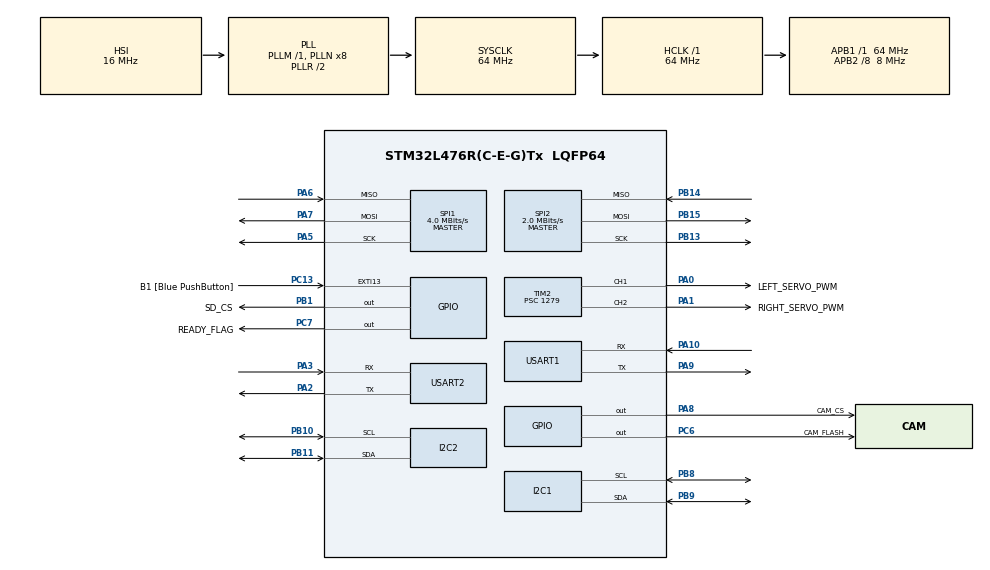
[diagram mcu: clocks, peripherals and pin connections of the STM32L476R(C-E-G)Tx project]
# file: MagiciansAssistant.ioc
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I2C1.Timing=0x10707DBC
I2C2.Timing=0x10707DBC
Mcu.Family=STM32L4
Mcu.Name=STM32L476R(C-E-G)Tx
Mcu.Package=LQFP64
NVIC.PriorityGroup=NVIC_PRIORITYGROUP_4
NVIC.RNG_IRQn=true\:0\:0\:false\:false\:true\:true\:true\:true
NVIC.TIM2_IRQn=true\:0\:0\:false\:false\:true\:true\:true\:true
PA0.GPIO_Label=LEFT_SERVO_PWM
PA0.Signal=S_TIM2_CH1
PA1.GPIO_Label=RIGHT_SERVO_PWM
PA1.Signal=S_TIM2_CH2
PA10.Mode=Asynchronous
PA10.Signal=USART1_RX
PA13\ (JTMS-SWDIO).GPIO_Label=TMS
PA13\ (JTMS-SWDIO).Mode=Serial_Wire
PA13\ (JTMS-SWDIO).Signal=SYS_JTMS-SWDIO
PA14\ (JTCK-SWCLK).GPIO_Label=TCK
PA14\ (JTCK-SWCLK).Mode=Serial_Wire
PA14\ (JTCK-SWCLK).Signal=SYS_JTCK-SWCLK
PA2.GPIO_Mode=GPIO_MODE_AF_PP
PA2.GPIO_ModeDefaultPP=GPIO_MODE_AF_PP
PA2.GPIO_PuPd=GPIO_NOPULL
PA2.GPIO_Speed=GPIO_SPEED_FREQ_VERY_HIGH
PA2.Mode=Asynchronous
PA2.Signal=USART2_TX
PA3.GPIO_Mode=GPIO_MODE_AF_PP
PA3.GPIO_ModeDefaultPP=GPIO_MODE_AF_PP
PA3.GPIO_PuPd=GPIO_NOPULL
PA3.GPIO_Speed=GPIO_SPEED_FREQ_VERY_HIGH
PA3.Mode=Asynchronous
PA3.Signal=USART2_RX
PA5.Mode=Full_Duplex_Master
PA5.Signal=SPI1_SCK
PA6.Mode=Full_Duplex_Master
PA6.Signal=SPI1_MISO
PA7.Mode=Full_Duplex_Master
PA7.Signal=SPI1_MOSI
PA8.GPIO_Label=CAM_CS
PA8.GPIO_PuPd=GPIO_NOPULL
PA8.GPIO_Speed=GPIO_SPEED_FREQ_LOW
PA8.PinState=GPIO_PIN_SET
PA8.Signal=GPIO_Output
PA9.Mode=Asynchronous
PA9.Signal=USART1_TX
PB1.GPIO_Label=SD_CS
PB1.PinState=GPIO_PIN_SET
PB1.Signal=GPIO_Output
PB10.Mode=I2C
PB10.Signal=I2C2_SCL
PB11.Mode=I2C
PB11.Signal=I2C2_SDA
PB13.Mode=Full_Duplex_Master
PB13.Signal=SPI2_SCK
PB14.Mode=Full_Duplex_Master
PB14.Signal=SPI2_MISO
PB15.Mode=Full_Duplex_Master
PB15.Signal=SPI2_MOSI
PB3\ (JTDO-TRACESWO).GPIO_Label=SWO
PB3\ (JTDO-TRACESWO).Signal=SYS_JTDO-SWO
PB8.Mode=I2C
PB8.Signal=I2C1_SCL
PB9.Mode=I2C
PB9.Signal=I2C1_SDA
PC13.GPIO_Label=B1 [Blue PushButton]
PC13.GPIO_ModeDefaultEXTI=GPIO_MODE_IT_FALLING
PC13.GPIO_PuPd=GPIO_NOPULL
PC13.Signal=GPXTI13
PC14-OSC32_IN\ (PC14).Mode=LSE-External-Oscillator
PC14-OSC32_IN\ (PC14).Signal=RCC_OSC32_IN
PC15-OSC32_OUT\ (PC15).Mode=LSE-External-Oscillator
PC15-OSC32_OUT\ (PC15).Signal=RCC_OSC32_OUT
PC6.GPIO_Label=CAM_FLASH
PC6.GPIO_PuPd=GPIO_PULLDOWN
PC6.PinState=GPIO_PIN_RESET
PC6.Signal=GPIO_Output
PC7.GPIO_Label=READY_FLAG
PC7.GPIO_PuPd=GPIO_PULLDOWN
PC7.Signal=GPIO_Output
PH0-OSC_IN\ (PH0).Signal=RCC_OSC_IN
PH1-OSC_OUT\ (PH1).Signal=RCC_OSC_OUT
ProjectManager.HeapSize=0x200
ProjectManager.StackSize=0x400
ProjectManager.TargetToolchain=STM32CubeIDE
RCC.ADCFreq_Value=64000000
RCC.AHBFreq_Value=64000000
RCC.APB1Freq_Value=64000000
RCC.APB1TimFreq_Value=64000000
RCC.APB2CLKDivider=RCC_HCLK_DIV8
RCC.APB2Freq_Value=8000000
RCC.APB2TimFreq_Value=16000000
RCC.CortexFreq_Value=64000000
RCC.HCLKFreq_Value=64000000
RCC.HSE_VALUE=8000000
RCC.HSI_VALUE=16000000
RCC.MSI_VALUE=4000000
RCC.PLLSAI1Q=RCC_PLLQ_DIV4
RCC.PLLSourceVirtual=RCC_PLLSOURCE_HSI
RCC.PREFETCH_ENABLE=1
RCC.SYSCLKFreq_VALUE=64000000
RCC.SYSCLKSource=RCC_SYSCLKSOURCE_PLLCLK
RCC.USBFreq_Value=32000000
RCC.VCOOutputFreq_Value=128000000
SH.S_TIM2_CH1.0=TIM2_CH1,PWM Generation1 CH1
SH.S_TIM2_CH2.0=TIM2_CH2,PWM Generation2 CH2
SPI1.BaudRatePrescaler=SPI_BAUDRATEPRESCALER_2
SPI1.CalculateBaudRate=4.0 MBits/s
SPI1.DataSize=SPI_DATASIZE_8BIT
SPI1.Direction=SPI_DIRECTION_2LINES
SPI1.Mode=SPI_MODE_MASTER
SPI1.VirtualType=VM_MASTER
SPI2.BaudRatePrescaler=SPI_BAUDRATEPRESCALER_32
SPI2.CalculateBaudRate=2.0 MBits/s
SPI2.DataSize=SPI_DATASIZE_8BIT
SPI2.Direction=SPI_DIRECTION_2LINES
SPI2.Mode=SPI_MODE_MASTER
SPI2.VirtualType=VM_MASTER
TIM2.AutoReloadPreload=TIM_AUTORELOAD_PRELOAD_ENABLE
TIM2.Channel-PWM\ Generation1\ CH1=TIM_CHANNEL_1
TIM2.Channel-PWM\ Generation2\ CH2=TIM_CHANNEL_2
TIM2.Period=999
TIM2.Prescaler=1279
TIM2.Pulse-PWM\ Generation1\ CH1=75
TIM2.Pulse-PWM\ Generation2\ CH2=5
USART1.VirtualMode-Asynchronous=VM_ASYNC
USART2.VirtualMode-Asynchronous=VM_ASYNC
VP_FATFS_VS_Generic.Mode=User_defined
VP_RNG_VS_RNG.Mode=RNG_Activate
VP_TIM2_VS_ClockSourceINT.Mode=Internal
board=NUCLEO-L476RG

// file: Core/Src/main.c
/* USER CODE BEGIN Header */
/**
  ******************************************************************************
  * @file           : main.c
  * @brief          : Main program body
  ******************************************************************************
  * @attention
  *
  * Copyright (c) 2023 STMicroelectronics.
  * All rights reserved.
  *
  * This software is licensed under terms that can be found in the LICENSE file
  * in the root directory of this software component.
  * If no LICENSE file comes with this software, it is provided AS-IS.
  *
  ******************************************************************************
  */
/* USER CODE END Header */
#include "main.h"
#include "fatfs.h"

/* USER CODE BEGIN Includes */
#include <string.h>
#include <stdlib.h>
#include "ArducamController.h"
#include "WiFiController.h"
#include "ServoController.h"
#include "SDController.h"

//#include "helpers.h"

/* USER CODE END Includes */

I2C_HandleTypeDef hi2c1;
I2C_HandleTypeDef hi2c2;

RNG_HandleTypeDef hrng;

SPI_HandleTypeDef hspi1;
SPI_HandleTypeDef hspi2;

TIM_HandleTypeDef htim2;

UART_HandleTypeDef huart1;
UART_HandleTypeDef huart2;

void SystemClock_Config(void);
static void MX_GPIO_Init(void);
static void MX_I2C1_Init(void);
static void MX_SPI1_Init(void);
static void MX_USART2_UART_Init(void);
static void MX_USART1_UART_Init(void);
static void MX_SPI2_Init(void);
static void MX_I2C2_Init(void);
static void MX_TIM2_Init(void);
static void MX_RNG_Init(void);

/* USER CODE BEGIN 0 */

void fullStatusReport(ArducamController* pArducam, WiFiController* pESP, ServoController* pServoController, SDController* pSDController){
	if(!pArducam){ printf("Null Arducam Pointer!\n");} else {printf("Arducam Status : %s\n", stat2Str(pArducam->status));}
	if(!pESP){ printf("Null WiFiController Pointer!\n"); } else {printf("ESP Status : %s\n", stat2Str(pESP->status));}
	if(!pServoController){ printf("Null ServoController Pointer!\n"); } else {printf("Servo Status : %s\n", stat2Str(pServoController->status));}
	if(!pSDController){ printf("Null SDController Pointer!\n"); } else {printf("SD Status : %s\n", stat2Str(pSDController->status));}
}

/* USER CODE END 0 */

int main(void)
{

  /* MCU Configuration--------------------------------------------------------*/

  /* Reset of all peripherals, Initializes the Flash interface and the Systick. */
  HAL_Init();

  /* Configure the system clock */
  SystemClock_Config();

  /* Initialize all configured peripherals */
  MX_GPIO_Init();
  MX_I2C1_Init();
  MX_SPI1_Init();
  MX_USART2_UART_Init();
  MX_USART1_UART_Init();
  MX_FATFS_Init();
  MX_SPI2_Init();
  MX_I2C2_Init();
  MX_TIM2_Init();
  MX_RNG_Init();
  /* USER CODE BEGIN 2 */

  //Initialize Helper Functions
  initHelpers(&huart2);

  //Initialize the peripheral controllers and their components
  Servo leftServo = {.name = "LEFT_SERVO\0", .pTIMHandle = &htim2, .channel = TIM_CHANNEL_1};
  Servo rightServo = {.name = "RIGHT_SERVO\0", .pTIMHandle = &htim2, .channel = TIM_CHANNEL_2};
  ServoController servoController = {.pRNGHandle = &hrng};
  initServoController(&servoController);
  addServo(&servoController, leftServo);
  addServo(&servoController, rightServo);

  ArducamController arducam = {.status = HAL_OK, .pI2CHandle = &hi2c1, .pSPIHandle = &hspi1, .pCSPort = CAM_CS_GPIO_Port, .csPinNo = CAM_CS_Pin, .pFlashPort = CAM_FLASH_GPIO_Port, .flashPinNo = CAM_FLASH_Pin};
  initArducam(&arducam);

  WiFiController esp = {.status = HAL_OK, .pUARTHandle = &huart1, .pGPIOPort = READY_FLAG_GPIO_Port, .readyFlagPin = READY_FLAG_Pin};
  char pCMDBuffer[] = "CMDBUFFR";
  initESP(&esp);

  SDController sd = {.status = HAL_OK, .pSPIHandle = &hspi2, .pCSPort = SD_CS_GPIO_Port, .csPin = SD_CS_Pin};
  char* filename = "image.jpg";
  initSD(&sd);

  /* USER CODE END 2 */

  /* Infinite loop */
  /* USER CODE BEGIN WHILE */
  clearCMDBuffer(&esp); //Clear out any old commands that may have come in while Assistant wasn't looking
  while (esp.status == HAL_OK) // Might add the other Controllers here if needed
  {// Continuously look for commands on ESP_RX, as long as ESP is working

	if(getNextCMD(&esp, pCMDBuffer) == HAL_OK){
		signalBusy(&esp);
		if(strcmp(pCMDBuffer, LIGHTS_ON) == 0){ //Turn the Flash On
			printf(STATUS_LIGHTS_ON);
			flashOn(&arducam);
		} else if (strcmp(pCMDBuffer, LIGHTS_OFF) == 0){ //Turn the Flash Off
			printf(STATUS_LIGHTS_OFF);
			flashOff(&arducam);
		} else if (strcmp(pCMDBuffer, SHUFFLE) == 0){ //Begin Shuffle Sequence
			printf(STATUS_SHUFFLE);
			if(shuffle(&servoController, DECK_SIZE) == HAL_OK){
				printf("SUCCESS Shuffled Deck.\n");
			}
		} else if (strcmp(pCMDBuffer, SNAP) == 0){ //Take a Single Picture and Sends it to the ESP
			printf(STATUS_SNAP);
			if(singleCapture(&arducam) == HAL_OK){
				if(writeFile(&sd, filename, arducam.pictureBuffer, arducam.pictureBufferSize) == HAL_OK){ //Saves JPG data to SD
					picToBase64(&arducam);
					if(sendData(&esp, arducam.base64Buffer, arducam.base64Size) == HAL_OK){
						printSuccess("Sent Base64 Photo to ESP");
					}
				}
			}
		} else if (strcmp(pCMDBuffer, ARCHIDEKT) == 0){
			// Send the Deck to Archidekt
			// Idea : Capture 100 photos, send each to ESP to go to curl for Image to Text API, then Receive Text, (display it?), send out to Archidekt
			// Might be best to split into a "SCAN" cmd that scans a single card and prints the card name (at least for testing) and an "Archidekt" CMD
			printf(STATUS_ARCHIDEKT);
		} else if (strcmp(pCMDBuffer, SD_READ) == 0){ // Sends 1KB of the active SD file to ESP repeatedly
			/*printf(STATUS_SD_READ);
			int transmissionSize = 1024;
			int nChunks = arducam.pictureBufferSize / transmissionSize;
			char* fileData;
			for(int i = 0; i < nChunks; i++){
				signalBusy(&esp32);
				readFile(&sd, filename, fileData, transmissionSize);
				sendData(&esp32, fileData, transmissionSize);
				signalReady(&esp32);

			}*/
		} else if (strcmp(pCMDBuffer, SHUTDOWN) == 0){
			//Stop waiting for commands and exit the loop
			printf(STATUS_SHUTDOWN);
			break;
		} else { //Some strange command
			printf("%s: '%s'\n", STATUS_UNKNOWN, pCMDBuffer);
		}
	}

	clearCMDBuffer(&esp); // Flush again just to be sure the buffer is clear for the next command
	signalReady(&esp);
  }

  	printf("Exited Loop.\n");
    /* USER CODE END WHILE */

    /* USER CODE BEGIN 3 */
  	fullStatusReport(&arducam, &esp, &servoController, &sd); // Prints the statuses of every peripheral

  	// Clean up step
  	disconnectSD(&sd);
  	disconnectArducam(&arducam);
  	disconnectServos(&servoController);
  	disconnectESP(&esp);

	printf("Goodbye!\n");
  /* USER CODE END 3 */
}

void SystemClock_Config(void)
{
  RCC_OscInitTypeDef RCC_OscInitStruct = {0};
  RCC_ClkInitTypeDef RCC_ClkInitStruct = {0};

  /** Configure the main internal regulator output voltage
  */
  if (HAL_PWREx_ControlVoltageScaling(PWR_REGULATOR_VOLTAGE_SCALE1) != HAL_OK)
  {
    Error_Handler();
  }

  /** Initializes the RCC Oscillators according to the specified parameters
  * in the RCC_OscInitTypeDef structure.
  */
  RCC_OscInitStruct.OscillatorType = RCC_OSCILLATORTYPE_HSI;
  RCC_OscInitStruct.HSIState = RCC_HSI_ON;
  RCC_OscInitStruct.HSICalibrationValue = RCC_HSICALIBRATION_DEFAULT;
  RCC_OscInitStruct.PLL.PLLState = RCC_PLL_ON;
  RCC_OscInitStruct.PLL.PLLSource = RCC_PLLSOURCE_HSI;
  RCC_OscInitStruct.PLL.PLLM = 1;
  RCC_OscInitStruct.PLL.PLLN = 8;
  RCC_OscInitStruct.PLL.PLLP = RCC_PLLP_DIV7;
  RCC_OscInitStruct.PLL.PLLQ = RCC_PLLQ_DIV2;
  RCC_OscInitStruct.PLL.PLLR = RCC_PLLR_DIV2;
  if (HAL_RCC_OscConfig(&RCC_OscInitStruct) != HAL_OK)
  {
    Error_Handler();
  }

  /** Initializes the CPU, AHB and APB buses clocks
  */
  RCC_ClkInitStruct.ClockType = RCC_CLOCKTYPE_HCLK|RCC_CLOCKTYPE_SYSCLK
                              |RCC_CLOCKTYPE_PCLK1|RCC_CLOCKTYPE_PCLK2;
  RCC_ClkInitStruct.SYSCLKSource = RCC_SYSCLKSOURCE_PLLCLK;
  RCC_ClkInitStruct.AHBCLKDivider = RCC_SYSCLK_DIV1;
  RCC_ClkInitStruct.APB1CLKDivider = RCC_HCLK_DIV1;
  RCC_ClkInitStruct.APB2CLKDivider = RCC_HCLK_DIV8;

  if (HAL_RCC_ClockConfig(&RCC_ClkInitStruct, FLASH_LATENCY_3) != HAL_OK)
  {
    Error_Handler();
  }
}

static void MX_I2C1_Init(void)
{

  hi2c1.Instance = I2C1;
  hi2c1.Init.Timing = 0x10707DBC;
  hi2c1.Init.OwnAddress1 = 0;
  hi2c1.Init.AddressingMode = I2C_ADDRESSINGMODE_7BIT;
  hi2c1.Init.DualAddressMode = I2C_DUALADDRESS_DISABLE;
  hi2c1.Init.OwnAddress2 = 0;
  hi2c1.Init.OwnAddress2Masks = I2C_OA2_NOMASK;
  hi2c1.Init.GeneralCallMode = I2C_GENERALCALL_DISABLE;
  hi2c1.Init.NoStretchMode = I2C_NOSTRETCH_DISABLE;
  if (HAL_I2C_Init(&hi2c1) != HAL_OK)
  {
    Error_Handler();
  }

  /** Configure Analogue filter
  */
  if (HAL_I2CEx_ConfigAnalogFilter(&hi2c1, I2C_ANALOGFILTER_ENABLE) != HAL_OK)
  {
    Error_Handler();
  }

  /** Configure Digital filter
  */
  if (HAL_I2CEx_ConfigDigitalFilter(&hi2c1, 0) != HAL_OK)
  {
    Error_Handler();
  }

}

static void MX_I2C2_Init(void)
{

  hi2c2.Instance = I2C2;
  hi2c2.Init.Timing = 0x10707DBC;
  hi2c2.Init.OwnAddress1 = 0;
  hi2c2.Init.AddressingMode = I2C_ADDRESSINGMODE_7BIT;
  hi2c2.Init.DualAddressMode = I2C_DUALADDRESS_DISABLE;
  hi2c2.Init.OwnAddress2 = 0;
  hi2c2.Init.OwnAddress2Masks = I2C_OA2_NOMASK;
  hi2c2.Init.GeneralCallMode = I2C_GENERALCALL_DISABLE;
  hi2c2.Init.NoStretchMode = I2C_NOSTRETCH_DISABLE;
  if (HAL_I2C_Init(&hi2c2) != HAL_OK)
  {
    Error_Handler();
  }

  /** Configure Analogue filter
  */
  if (HAL_I2CEx_ConfigAnalogFilter(&hi2c2, I2C_ANALOGFILTER_ENABLE) != HAL_OK)
  {
    Error_Handler();
  }

  /** Configure Digital filter
  */
  if (HAL_I2CEx_ConfigDigitalFilter(&hi2c2, 0) != HAL_OK)
  {
    Error_Handler();
  }

}

static void MX_RNG_Init(void)
{

  hrng.Instance = RNG;
  if (HAL_RNG_Init(&hrng) != HAL_OK)
  {
    Error_Handler();
  }

}

static void MX_SPI1_Init(void)
{

  /* SPI1 parameter configuration*/
  hspi1.Instance = SPI1;
  hspi1.Init.Mode = SPI_MODE_MASTER;
  hspi1.Init.Direction = SPI_DIRECTION_2LINES;
  hspi1.Init.DataSize = SPI_DATASIZE_8BIT;
  hspi1.Init.CLKPolarity = SPI_POLARITY_LOW;
  hspi1.Init.CLKPhase = SPI_PHASE_1EDGE;
  hspi1.Init.NSS = SPI_NSS_SOFT;
  hspi1.Init.BaudRatePrescaler = SPI_BAUDRATEPRESCALER_2;
  hspi1.Init.FirstBit = SPI_FIRSTBIT_MSB;
  hspi1.Init.TIMode = SPI_TIMODE_DISABLE;
  hspi1.Init.CRCCalculation = SPI_CRCCALCULATION_DISABLE;
  hspi1.Init.CRCPolynomial = 7;
  hspi1.Init.CRCLength = SPI_CRC_LENGTH_DATASIZE;
  hspi1.Init.NSSPMode = SPI_NSS_PULSE_ENABLE;
  if (HAL_SPI_Init(&hspi1) != HAL_OK)
  {
    Error_Handler();
  }

}

static void MX_SPI2_Init(void)
{

  /* SPI2 parameter configuration*/
  hspi2.Instance = SPI2;
  hspi2.Init.Mode = SPI_MODE_MASTER;
  hspi2.Init.Direction = SPI_DIRECTION_2LINES;
  hspi2.Init.DataSize = SPI_DATASIZE_8BIT;
  hspi2.Init.CLKPolarity = SPI_POLARITY_LOW;
  hspi2.Init.CLKPhase = SPI_PHASE_1EDGE;
  hspi2.Init.NSS = SPI_NSS_SOFT;
  hspi2.Init.BaudRatePrescaler = SPI_BAUDRATEPRESCALER_32;
  hspi2.Init.FirstBit = SPI_FIRSTBIT_MSB;
  hspi2.Init.TIMode = SPI_TIMODE_DISABLE;
  hspi2.Init.CRCCalculation = SPI_CRCCALCULATION_DISABLE;
  hspi2.Init.CRCPolynomial = 7;
  hspi2.Init.CRCLength = SPI_CRC_LENGTH_DATASIZE;
  hspi2.Init.NSSPMode = SPI_NSS_PULSE_ENABLE;
  if (HAL_SPI_Init(&hspi2) != HAL_OK)
  {
    Error_Handler();
  }

}

static void MX_TIM2_Init(void)
{

  TIM_ClockConfigTypeDef sClockSourceConfig = {0};
  TIM_MasterConfigTypeDef sMasterConfig = {0};
  TIM_OC_InitTypeDef sConfigOC = {0};

  htim2.Instance = TIM2;
  htim2.Init.Prescaler = 1279;
  htim2.Init.CounterMode = TIM_COUNTERMODE_UP;
  htim2.Init.Period = 999;
  htim2.Init.ClockDivision = TIM_CLOCKDIVISION_DIV1;
  htim2.Init.AutoReloadPreload = TIM_AUTORELOAD_PRELOAD_ENABLE;
  if (HAL_TIM_Base_Init(&htim2) != HAL_OK)
  {
    Error_Handler();
  }
  sClockSourceConfig.ClockSource = TIM_CLOCKSOURCE_INTERNAL;
  if (HAL_TIM_ConfigClockSource(&htim2, &sClockSourceConfig) != HAL_OK)
  {
    Error_Handler();
  }
  if (HAL_TIM_PWM_Init(&htim2) != HAL_OK)
  {
    Error_Handler();
  }
  sMasterConfig.MasterOutputTrigger = TIM_TRGO_RESET;
  sMasterConfig.MasterSlaveMode = TIM_MASTERSLAVEMODE_DISABLE;
  if (HAL_TIMEx_MasterConfigSynchronization(&htim2, &sMasterConfig) != HAL_OK)
  {
    Error_Handler();
  }
  sConfigOC.OCMode = TIM_OCMODE_PWM1;
  sConfigOC.Pulse = 75;
  sConfigOC.OCPolarity = TIM_OCPOLARITY_HIGH;
  sConfigOC.OCFastMode = TIM_OCFAST_DISABLE;
  if (HAL_TIM_PWM_ConfigChannel(&htim2, &sConfigOC, TIM_CHANNEL_1) != HAL_OK)
  {
    Error_Handler();
  }
  sConfigOC.Pulse = 5;
  if (HAL_TIM_PWM_ConfigChannel(&htim2, &sConfigOC, TIM_CHANNEL_2) != HAL_OK)
  {
    Error_Handler();
  }
  HAL_TIM_MspPostInit(&htim2);

}

static void MX_USART1_UART_Init(void)
{

  huart1.Instance = USART1;
  huart1.Init.BaudRate = 115200;
  huart1.Init.WordLength = UART_WORDLENGTH_8B;
  huart1.Init.StopBits = UART_STOPBITS_1;
  huart1.Init.Parity = UART_PARITY_NONE;
  huart1.Init.Mode = UART_MODE_TX_RX;
  huart1.Init.HwFlowCtl = UART_HWCONTROL_NONE;
  huart1.Init.OverSampling = UART_OVERSAMPLING_16;
  huart1.Init.OneBitSampling = UART_ONE_BIT_SAMPLE_DISABLE;
  huart1.AdvancedInit.AdvFeatureInit = UART_ADVFEATURE_NO_INIT;
  if (HAL_UART_Init(&huart1) != HAL_OK)
  {
    Error_Handler();
  }

}

static void MX_USART2_UART_Init(void)
{

  huart2.Instance = USART2;
  huart2.Init.BaudRate = 115200;
  huart2.Init.WordLength = UART_WORDLENGTH_8B;
  huart2.Init.StopBits = UART_STOPBITS_1;
  huart2.Init.Parity = UART_PARITY_NONE;
  huart2.Init.Mode = UART_MODE_TX_RX;
  huart2.Init.HwFlowCtl = UART_HWCONTROL_NONE;
  huart2.Init.OverSampling = UART_OVERSAMPLING_16;
  huart2.Init.OneBitSampling = UART_ONE_BIT_SAMPLE_DISABLE;
  huart2.AdvancedInit.AdvFeatureInit = UART_ADVFEATURE_NO_INIT;
  if (HAL_UART_Init(&huart2) != HAL_OK)
  {
    Error_Handler();
  }

}

static void MX_GPIO_Init(void)
{
  GPIO_InitTypeDef GPIO_InitStruct = {0};

  /* GPIO Ports Clock Enable */
  __HAL_RCC_GPIOC_CLK_ENABLE();
  __HAL_RCC_GPIOH_CLK_ENABLE();
  __HAL_RCC_GPIOA_CLK_ENABLE();
  __HAL_RCC_GPIOB_CLK_ENABLE();

  /*Configure GPIO pin Output Level */
  HAL_GPIO_WritePin(SD_CS_GPIO_Port, SD_CS_Pin, GPIO_PIN_SET);

  /*Configure GPIO pin Output Level */
  HAL_GPIO_WritePin(GPIOC, CAM_FLASH_Pin|READY_FLAG_Pin, GPIO_PIN_RESET);

  /*Configure GPIO pin Output Level */
  HAL_GPIO_WritePin(CAM_CS_GPIO_Port, CAM_CS_Pin, GPIO_PIN_SET);

  /*Configure GPIO pin : B1_Pin */
  GPIO_InitStruct.Pin = B1_Pin;
  GPIO_InitStruct.Mode = GPIO_MODE_IT_FALLING;
  GPIO_InitStruct.Pull = GPIO_NOPULL;
  HAL_GPIO_Init(B1_GPIO_Port, &GPIO_InitStruct);

  /*Configure GPIO pin : SD_CS_Pin */
  GPIO_InitStruct.Pin = SD_CS_Pin;
  GPIO_InitStruct.Mode = GPIO_MODE_OUTPUT_PP;
  GPIO_InitStruct.Pull = GPIO_NOPULL;
  GPIO_InitStruct.Speed = GPIO_SPEED_FREQ_LOW;
  HAL_GPIO_Init(SD_CS_GPIO_Port, &GPIO_InitStruct);

  /*Configure GPIO pins : CAM_FLASH_Pin READY_FLAG_Pin */
  GPIO_InitStruct.Pin = CAM_FLASH_Pin|READY_FLAG_Pin;
  GPIO_InitStruct.Mode = GPIO_MODE_OUTPUT_PP;
  GPIO_InitStruct.Pull = GPIO_PULLDOWN;
  GPIO_InitStruct.Speed = GPIO_SPEED_FREQ_LOW;
  HAL_GPIO_Init(GPIOC, &GPIO_InitStruct);

  /*Configure GPIO pin : CAM_CS_Pin */
  GPIO_InitStruct.Pin = CAM_CS_Pin;
  GPIO_InitStruct.Mode = GPIO_MODE_OUTPUT_PP;
  GPIO_InitStruct.Pull = GPIO_NOPULL;
  GPIO_InitStruct.Speed = GPIO_SPEED_FREQ_LOW;
  HAL_GPIO_Init(CAM_CS_GPIO_Port, &GPIO_InitStruct);

}

void Error_Handler(void)
{
  __disable_irq();
  while (1)
  {
  }
}
